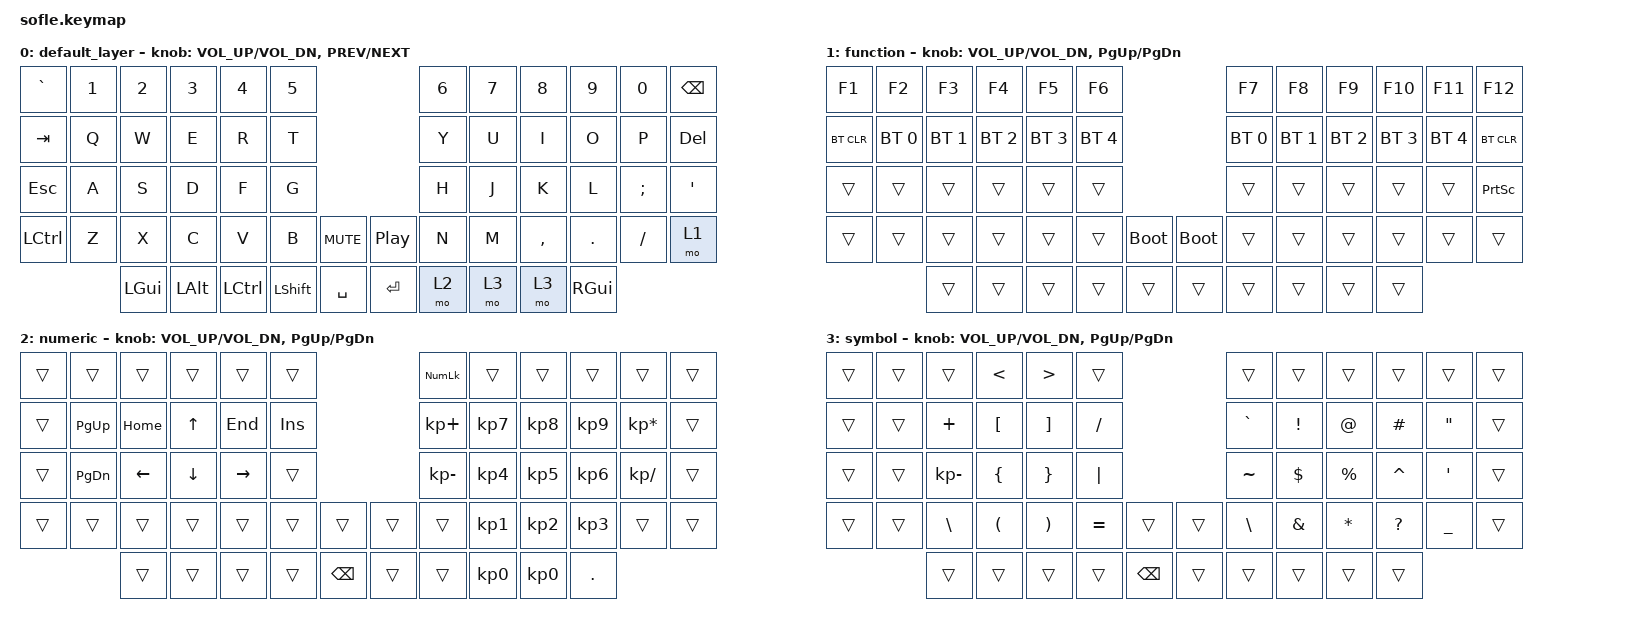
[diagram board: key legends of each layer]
/*
 * Copyright (c) 2020 The ZMK Contributors
 *
 * SPDX-License-Identifier: MIT
 */

#include <behaviors.dtsi>
#include <dt-bindings/zmk/bt.h>
#include <dt-bindings/zmk/keys.h>

/ {
    combos {
        compatible = "zmk,combos";

        capslock {
            bindings = <&kp CAPSLOCK>;
            key-positions = <10 11>;
        };

        capsword {
            bindings = <&caps_word>;
            key-positions = <22 23>;
        };
    };

    keymap {
        compatible = "zmk,keymap";

        default_layer {
            // ------------------------------------------------------------------------------------------------------------
            // |  `    |  1  |  2  |  3   |  4   |  5   |                         |  6   |  7    |  8    |  9   |   0   |       |
            // |  ESC  |  Q  |  W  |  E   |  R   |  T   |                         |  Y   |  U    |  I    |  O   |   P   | BKSPC |
            // |  TAB  |  A  |  S  |  D   |  F   |  G   |                         |  H   |  J    |  K    |  L   |   ;   |   '   |
            // | SHIFT |  Z  |  X  |  C   |  V   |  B   |  MUTE  |        | ExtPw |  N   |  M    |  ,    |  .   |   /   | SHIFT |
            //               | GUI | ALT  | CTRL | LOWER|  ENTER |        | SPACE | RAISE| CTRL  | ALT   | GUI  |

            bindings = <
&kp GRAVE         &kp N1  &kp N2    &kp N3        &kp N4            &kp N5                                          &kp N6  &kp N7  &kp N8     &kp N9    &kp N0    &kp BACKSPACE
&kp TAB           &kp Q   &kp W     &kp E         &kp R             &kp T                                           &kp Y   &kp U   &kp I      &kp O     &kp P     &kp DELETE
&kp ESC           &kp A   &kp S     &kp D         &kp F             &kp G                                           &kp H   &kp J   &kp K      &kp L     &kp SEMI  &kp SQT
&kp LEFT_CONTROL  &kp Z   &kp X     &kp C         &kp V             &kp B           &kp C_MUTE    &kp C_PLAY_PAUSE  &kp N   &kp M   &kp COMMA  &kp DOT   &kp FSLH  &mo 1
                          &kp LGUI  &kp LEFT_ALT  &kp LEFT_CONTROL  &kp LEFT_SHIFT  &kp SPACE     &kp RETURN        &mo 2   &mo 3   &mo 3      &kp RGUI
            >;

            sensor-bindings =
                <&inc_dec_kp C_VOL_UP C_VOL_DN>,
                <&inc_dec_kp C_PREV C_NEXT>;
        };

        function {
            // TODO: Some binds are waiting for shifted keycode support.
            // ------------------------------------------------------------------------------------------------------------
            // |       |  F1 |  F2 |  F3  |  F4  |  F5  |                   |  F6  |  F7   |  F8   |  F9  |  F10  |  F11  |
            // | `     |   1 |   2 |   3  |   4  |   5  |                   |   6  |   7   |   8   |   9  |    0  |  F12  |
            // |       |  !  |  @  |  #   |  $   |  %   |                   |  ^   |  &    |  *    |  (   |   )   |   |   |
            // |       |  =  |  -  |  +   |  {   |  }   |        |  |       |  [   |  ]    |  ;    |  :   |   \   |       |
            //               |     |      |      |      |        |  |       |      |       |       |      |

            bindings = <
&kp F1      &kp F2        &kp F3        &kp F4        &kp F5        &kp F6                                    &kp F7        &kp F8        &kp F9        &kp F10       &kp F11       &kp F12
&bt BT_CLR  &bt BT_SEL 0  &bt BT_SEL 1  &bt BT_SEL 2  &bt BT_SEL 3  &bt BT_SEL 4                              &bt BT_SEL 0  &bt BT_SEL 1  &bt BT_SEL 2  &bt BT_SEL 3  &bt BT_SEL 4  &bt BT_CLR
&trans      &trans        &trans        &trans        &trans        &trans                                    &trans        &trans        &trans        &trans        &trans        &kp PRINTSCREEN
&trans      &trans        &trans        &trans        &trans        &trans        &bootloader    &bootloader  &trans        &trans        &trans        &trans        &trans        &trans
                          &trans        &trans        &trans        &trans        &trans         &trans       &trans        &trans        &trans        &trans
            >;

            sensor-bindings = <&inc_dec_kp C_VOL_UP C_VOL_DN &inc_dec_kp PG_UP PG_DN>;
        };

        numeric {
            bindings = <
&trans  &trans         &trans          &trans          &trans           &trans                               &kp KP_NUMLOCK  &trans           &trans           &trans           &trans           &trans
&trans  &kp PAGE_UP    &kp HOME        &kp UP_ARROW    &kp END          &kp INSERT                           &kp KP_PLUS     &kp KP_NUMBER_7  &kp KP_NUMBER_8  &kp KP_NUMBER_9  &kp KP_MULTIPLY  &trans
&trans  &kp PAGE_DOWN  &kp LEFT_ARROW  &kp DOWN_ARROW  &kp RIGHT_ARROW  &trans                               &kp KP_MINUS    &kp KP_NUMBER_4  &kp KP_NUMBER_5  &kp KP_NUMBER_6  &kp KP_DIVIDE    &trans
&trans  &trans         &trans          &trans          &trans           &trans      &trans           &trans  &trans          &kp KP_NUMBER_1  &kp KP_NUMBER_2  &kp KP_NUMBER_3  &trans           &trans
                       &trans          &trans          &trans           &trans      &kp BACKSPACE    &trans  &trans          &kp KP_NUMBER_0  &kp KP_NUMBER_0  &kp DOT
            >;

            sensor-bindings =
                <&inc_dec_kp C_VOL_UP C_VOL_DN>,
                <&inc_dec_kp PG_UP PG_DN>;
        };

        symbol {
            bindings = <
&trans  &trans  &trans           &kp LESS_THAN         &kp GREATER_THAN       &trans                              &trans         &trans           &trans        &trans        &trans             &trans
&trans  &trans  &kp PLUS         &kp LEFT_BRACKET      &kp RIGHT_BRACKET      &kp SLASH                           &kp GRAVE      &kp EXCLAMATION  &kp AT_SIGN   &kp POUND     &kp DOUBLE_QUOTES  &trans
&trans  &trans  &kp KP_SUBTRACT  &kp LEFT_BRACE        &kp RIGHT_BRACE        &kp PIPE                            &kp TILDE      &kp DOLLAR       &kp PERCENT   &kp CARET     &kp SINGLE_QUOTE   &trans
&trans  &trans  &kp BACKSLASH    &kp LEFT_PARENTHESIS  &kp RIGHT_PARENTHESIS  &kp EQUAL  &trans           &trans  &kp BACKSLASH  &kp AMPERSAND    &kp ASTERISK  &kp QUESTION  &kp UNDERSCORE     &trans
                &trans           &trans                &trans                 &trans     &kp BACKSPACE    &trans  &trans         &trans           &trans        &trans
            >;

            sensor-bindings =
                <&inc_dec_kp C_VOLUME_UP C_VOL_DN>,
                <&inc_dec_kp PAGE_UP PAGE_DOWN>;
        };
    };
};
